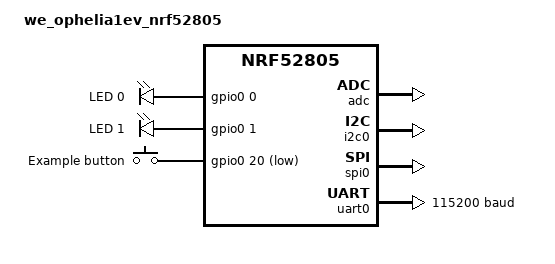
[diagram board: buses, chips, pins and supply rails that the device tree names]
/*
 * Copyright (c) 2022 Nordic Semiconductor ASA
 *
 * SPDX-License-Identifier: Apache-2.0
 */

/dts-v1/;
#include <nordic/nrf52805_caaa.dtsi>
#include "we_ophelia1ev_nrf52805-pinctrl.dtsi"
#include <zephyr/dt-bindings/input/input-event-codes.h>

/ {
	model = "we_ophelia1ev_nrf52805";
	compatible = "we,we-ophelia1ev-nrf52805";

	chosen {
		zephyr,console = &uart0;
		zephyr,shell-uart = &uart0;
		zephyr,uart-mcumgr = &uart0;
		zephyr,bt-mon-uart = &uart0;
		zephyr,bt-c2h-uart = &uart0;
		zephyr,sram = &sram0;
		zephyr,flash = &flash0;
		zephyr,code-partition = &slot0_partition;
	};

	leds {
		compatible = "gpio-leds";
		led0: led_0 {
			gpios = <&gpio0 0 GPIO_ACTIVE_HIGH>;
			label = "LED 0";
		};
		led1: led_1 {
			gpios = <&gpio0 1 GPIO_ACTIVE_HIGH>;
			label = "LED 1";
		};
	};

	buttons {
		compatible = "gpio-keys";
		button0: button_0 {
			label = "Example button";
			gpios = <&gpio0 20 (GPIO_PULL_UP | GPIO_ACTIVE_LOW)>;
			zephyr,code = <INPUT_KEY_0>;
		};
	};

	/* These aliases are provided for compatibility with samples */
	aliases {
		led0 = &led0;
		led1 = &led1;
		sw0 = &button0;
		bootloader-led0 = &led0;
		mcuboot-button0 = &button0;
		mcuboot-led0 = &led0;
		watchdog0 = &wdt0;
	};
};

&reg {
	regulator-initial-mode = <NRF5X_REG_MODE_DCDC>;
};

&adc {
	status = "okay";
};

&uicr {
	gpio-as-nreset;
};

&gpio0 {
	status = "okay";
};

&gpiote {
	status = "okay";
};

&i2c0 {
	compatible = "nordic,nrf-twi";
	status = "okay";
	pinctrl-0 = <&i2c0_default>;
	pinctrl-1 = <&i2c0_sleep>;
	pinctrl-names = "default", "sleep";
};

&spi0 {
	compatible = "nordic,nrf-spi";
	status = "okay";
	pinctrl-0 = <&spi0_default>;
	pinctrl-1 = <&spi0_sleep>;
	pinctrl-names = "default", "sleep";
};

&uart0 {
	compatible = "nordic,nrf-uarte";
	status = "okay";
	current-speed = <115200>;
	pinctrl-0 = <&uart0_default>;
	pinctrl-1 = <&uart0_sleep>;
	pinctrl-names = "default", "sleep";
};

&flash0 {
	partitions {
		compatible = "fixed-partitions";
		#address-cells = <1>;
		#size-cells = <1>;

		boot_partition: partition@0 {
			label = "mcuboot";
			reg = <0x00000000 0xc000>;
		};
		slot0_partition: partition@c000 {
			label = "image-0";
			reg = <0x0000C000 0xd000>;
		};
		slot1_partition: partition@19000 {
			label = "image-1";
			reg = <0x00019000 0xd000>;
		};
		scratch_partition: partition@26000 {
			label = "image-scratch";
			reg = <0x00026000 0x3000>;
		};
		storage_partition: partition@29000 {
			label = "storage";
			reg = <0x00029000 0x00007000>;
		};
	};
};
